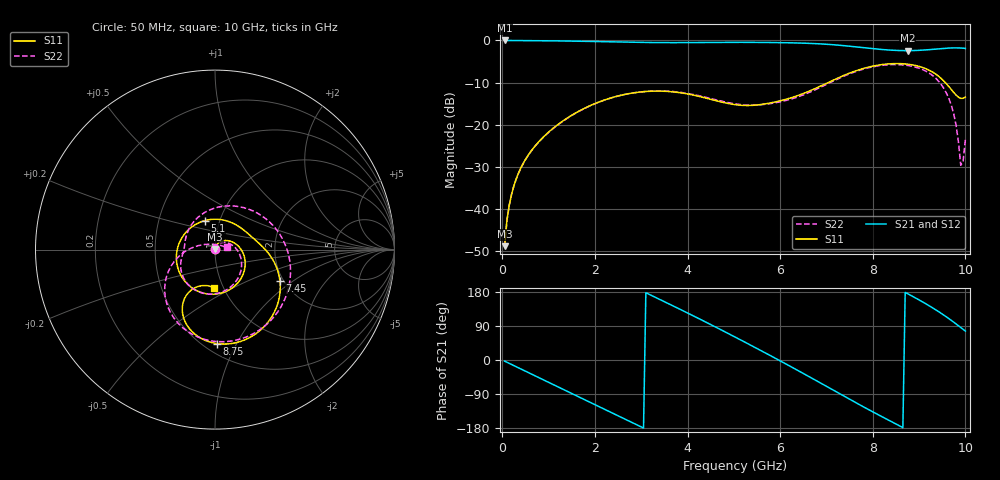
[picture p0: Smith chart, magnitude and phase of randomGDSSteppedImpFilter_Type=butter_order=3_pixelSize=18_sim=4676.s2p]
! freq	dB(S11)	phase(S11)	dB(S12)	phase(S12)
!  dB(S21)	phase(S21)	dB(S22)	phase(S22)
!S-par simulation data
#  GHz  S  DB  R 50
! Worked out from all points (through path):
!   200 points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, 50 MHz to 10 GHz, reference 50 ohm
!   highest |S21| = 0.00 dB at 50 MHz (marker M1); lowest = -2.4 dB at 8.75 GHz (marker M2)
!   group delay of S21, straight-line fit = 176 ps
!   lowest |S11| = -48.8 dB at 50 MHz (marker M3), VSWR 1.01, Z = 50 + j0.363 ohm
!   |S11| at or under -10 dB: start of sweep to 7.031 GHz; 9.568 GHz to end of sweep
!   |S22| runs from -48.8 to -5.7 dB; largest |S21 - S12| = 0
!   S11 on the Smith chart (normalised r, x): 50 MHz: 1.00, +0.01; 5.1 GHz: 0.85, +0.28; 7.45 GHz: 1.92, -0.79; 8.75 GHz: 0.58, -0.83; 10 GHz: 0.91, -0.40
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0.05  -48.78 85.9  -0.00 -3.0  -0.00 -3.0  -48.78 85.1
0.1  -42.68 84.4  -0.01 -5.9  -0.01 -5.9  -42.68 82.9
0.2  -36.50 80.0  -0.01 -11.8  -0.01 -11.8  -36.51 77.1
0.45  -29.19 67.7  -0.03 -26.5  -0.03 -26.5  -29.23 61.5
1.15  -20.37 29.8  -0.10 -67.7  -0.10 -67.7  -20.43 17.2
1.75  -16.23 -5.2  -0.20 -103.1  -0.20 -103.1  -16.27 -19.3
2.6  -12.90 -57.2  -0.39 -153.1  -0.39 -153.1  -12.91 -67.8
3.4  -12.02 -109.0  -0.51 159.9  -0.51 159.9  -11.97 -110.0
4.3  -13.40 -175.7  -0.49 105.9  -0.49 105.9  -13.23 -151.0
5.05  -15.26 114.6  -0.45 59.1  -0.45 59.1  -15.08 -176.1
5.1  -15.32 109.7  -0.45 56.0  -0.45 56.0  -15.15 -177.6
5.9  -14.57 41.7  -0.50 4.4  -0.50 4.4  -14.77 145.6
6.7  -11.68 4.7  -0.72 -49.0  -0.72 -49.0  -11.98 75.1
7.45  -7.95 -25.5  -1.31 -100.3  -1.31 -100.3  -8.13 4.1
8.35  -5.55 -69.2  -2.27 -159.2  -2.27 -159.2  -5.76 -66.6
8.75  -5.62 -89.0  -2.42 175.2  -2.42 175.2  -5.92 -95.2
9.2  -6.97 -110.4  -2.20 144.5  -2.20 144.5  -7.62 -128.7
9.55  -9.79 -121.8  -1.87 117.1  -1.87 117.1  -11.66 -159.5
9.75  -12.36 -118.0  -1.76 99.7  -1.76 99.7  -17.52 176.5
9.9  -13.73 -103.3  -1.80 85.7  -1.80 85.7  -29.61 114.9
9.95  -13.72 -96.8  -1.84 81.0  -1.84 81.0  -28.69 41.7
10  -13.45 -90.9  -1.89 76.4  -1.89 76.4  -23.49 10.3
